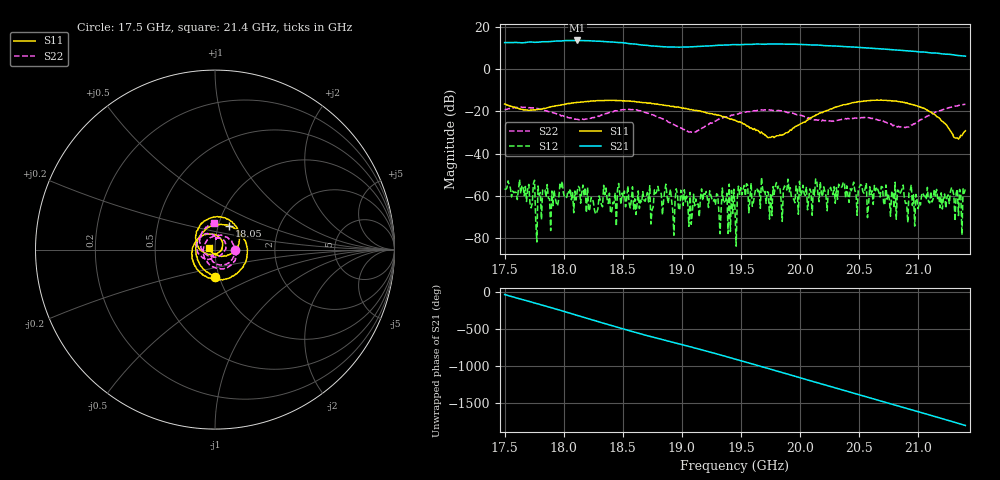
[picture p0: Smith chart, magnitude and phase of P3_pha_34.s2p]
!Created with skrf (http://scikit-rf.org).
# GHz S RI R 50.0
!freq ReS11 ImS11 ReS21 ImS21 ReS12 ImS12 ReS22 ImS22
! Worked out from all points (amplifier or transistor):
!   401 points, 17.5 GHz to 21.4 GHz, reference 50 ohm
!   highest |S21| = 13.6 dB at 18.11 GHz (marker M1)
!   |S21| within 3 dB of that: start of sweep to 18.85 GHz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
!   unconditionally stable (mu >= 1): start of sweep to end of sweep
!   at 18.14 GHz: K = 149.78, MAG = 13.7 dB, |S12| = -63.3 dB
!   at 19.45 GHz: K = 270.02, MAG = 11.6 dB, |S12| = -66.3 dB
!   at 21.4 GHz: K = 161.87, MAG = 6.2 dB, |S12| = -56.5 dB
!   S11 on the Smith chart (normalised r, x): 17.5 GHz: 0.96, -0.30; 18.05 GHz: 1.12, +0.31; 21.4 GHz: 0.93, +0.01
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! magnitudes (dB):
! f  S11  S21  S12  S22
! 17.5 GHz  -16.5  12.6  -56.5  -19.2
! 17.78 GHz  -19.0  12.7  -55.2  -18.6
! 17.84 GHz  -18.6  13.0  -56.9  -19.6
! 17.89 GHz  -17.8  13.1  -76.3  -20.3
! 18.05 GHz  -16.2  13.5  -58.5  -23.0
! 18.11 GHz  -15.7  13.6  -57.8  -23.7
! 18.15 GHz  -15.5  13.5  -58.1  -23.5
! 18.27 GHz  -15.0  13.2  -68.5  -22.6
! 18.36 GHz  -14.8  13.0  -56.2  -21.0
! 18.74 GHz  -16.1  11.0  -73.2  -21.4
! 18.81 GHz  -16.7  10.8  -57.8  -22.9
! 19.1 GHz  -19.4  10.6  -59.1  -29.7
! 19.19 GHz  -20.3  10.9  -58.2  -27.5
! 19.45 GHz  -24.1  11.6  -66.3  -21.3
! 19.54 GHz  -26.2  11.7  -59.9  -20.4
! 19.76 GHz  -31.9  11.9  -69.2  -19.4
! 19.81 GHz  -31.5  11.8  -56.5  -19.6
! 20.1 GHz  -22.6  11.4  -69.0  -23.6
! 20.36 GHz  -17.1  10.7  -55.5  -23.7
! 20.76 GHz  -14.8  9.3  -61.6  -25.8
! 21.36 GHz  -31.2  6.4  -59.3  -17.0
! 21.4 GHz  -29.1  6.1  -56.5  -16.6
